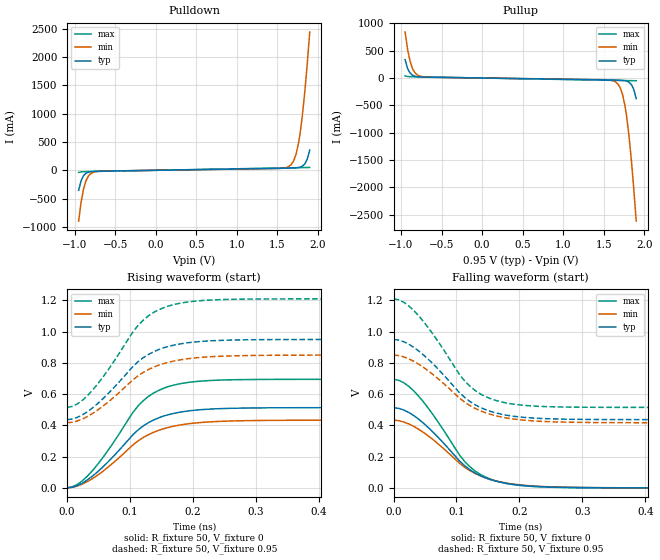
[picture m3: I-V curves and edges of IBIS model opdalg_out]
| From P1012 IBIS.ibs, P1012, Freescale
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[Model]   opdalg_out
Model_type Output
Polarity Non-Inverting
Vref=0.95
Vmeas=0.475
C_comp   1.78pF   1.67pF   1.83pF
[Model Spec]
[Temperature Range] 65   125   -40
[Voltage Range]   0.95   0.85   1.21
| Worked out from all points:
|   slope of the pulldown table from 0 to 0.142 V, typ, clamps not added: 42.5 ohm
|   slope of the pullup table from 0 to 0.142 V, typ, clamps not added: 42.5 ohm
|   falling waveform, R_fixture 50, V_fixture 0: 20-80 % time 78.1ps typ, 82.2ps min, 74.1ps max; typ from 0.513 V to 0 V
|   falling waveform, R_fixture 50, V_fixture 0.95: 20-80 % time 78ps typ, 82.1ps min, 74.3ps max; typ from 0.95 V to 0.437 V
|   rising waveform, R_fixture 50, V_fixture 0: 20-80 % time 78.1ps typ, 82.2ps min, 74.3ps max; typ from 0 V to 0.513 V
|   rising waveform, R_fixture 50, V_fixture 0.95: 20-80 % time 78ps typ, 82.1ps min, 74ps max; typ from 0.437 V to 0.95 V
[Pullup]
-950mV    335.5mA    840.5mA    37.93mA
-920mV    177.7mA    532.3mA    28.21mA
-860mV    51.79mA    177.5mA    23.38mA
-810mV    26.34mA    67.84mA    21.83mA
-750mV    18.74mA    27.23mA    20.2mA
1.5V      -34.85mA   -31.69mA   -39.96mA
1.67V     -39.12mA   -102mA     -44.33mA
1.73V     -42.93mA   -293.4mA   -45.87mA
1.78V     -54.65mA   -682.7mA   -47.14mA
1.81V     -74.38mA   -1.045A    -47.9mA
1.84V     -117.8mA   -1.498A    -48.66mA
1.9V      -376.2mA   -2.614A    -50.18mA
[Pulldown]
-950mV    -354.6mA   -896.5mA   -37.95mA
-920mV    -186.1mA   -566.4mA   -28.15mA
-890mV    -96.12mA   -333.7mA   -24.84mA
-860mV    -52.71mA   -186.8mA   -23.38mA
-810mV    -26.35mA   -70.07mA   -21.83mA
-750mV    -18.71mA   -27.42mA   -20.2mA
1.5V      34.85mA    31.71mA    39.96mA
1.67V     39.13mA    98.9mA     44.33mA
1.73V     42.97mA    278.3mA    45.87mA
1.78V     54.49mA    642mA      47.14mA
1.84V     114.6mA    1.403A     48.66mA
1.9V      357.1mA    2.444A     50.18mA
[Falling Waveform]
R_fixture=50
V_fixture=0
V_fixture_min=0
V_fixture_max=0
0s        513.2mV    433.2mV    694.8mV
16.16ps   498.8mV    421.9mV    673.2mV
40.4ps    438.2mV    373.9mV    584.6mV
64.65ps   349.3mV    302.7mV    457.6mV
105.1ps   171.7mV    157.1mV    209.5mV
121.2ps   116.4mV    110.3mV    136mV
145.5ps   65.13mV    64.62mV    70.63mV
177.8ps   29.74mV    31.96mV    29.22mV
299ps     1.573mV    2.097mV    1.027mV
800ps     68.85nV    52.65nV    14.41nV
[Falling Waveform]
R_fixture=50
V_fixture=0.95
V_fixture_min=0.85
V_fixture_max=1.21
0s        950mV      850mV      1.21V
16.16ps   935.7mV    838.9mV    1.188V
40.4ps    875mV      790.8mV    1.1V
64.65ps   786.2mV    719.3mV    972.7mV
105.1ps   608.5mV    574mV      724.8mV
121.2ps   553.3mV    527.2mV    651.5mV
145.5ps   502mV      481.9mV    585.7mV
169.7ps   473.1mV    454.9mV    551.7mV
266.7ps   440.2mV    421.3mV    517.7mV
800ps     436.8mV    416.8mV    515.2mV
[Rising Waveform]
R_fixture=50
V_fixture=0
V_fixture_min=0
V_fixture_max=0
0s        6.854nV    32.41nV    1.012nV
16.16ps   14.42mV    11.17mV    21.48mV
40.4ps    75.21mV    59.24mV    110.4mV
64.65ps   164mV      130.8mV    237.4mV
105.1ps   341.5mV    276mV      485mV
121.2ps   396.9mV    322.8mV    558.5mV
145.5ps   448.1mV    368.2mV    623.8mV
177.8ps   483.4mV    401.1mV    665.5mV
290.9ps   511.4mV    430.6mV    693.5mV
800ps     513.2mV    433.2mV    694.8mV
[Rising Waveform]
R_fixture=50
V_fixture=0.95
V_fixture_min=0.85
V_fixture_max=1.21
0s        436.8mV    416.8mV    515.2mV
16.16ps   451.4mV    428.1mV    537.1mV
40.4ps    511.7mV    476mV      625.1mV
64.65ps   600.6mV    547.4mV    752.2mV
105.1ps   778.4mV    692.9mV    1.001V
121.2ps   833.8mV    739.5mV    1.074V
145.5ps   885mV      785.4mV    1.14V
177.8ps   920.4mV    818.1mV    1.181V
299ps     948.4mV    847.9mV    1.209V
800ps     950mV      850mV      1.21V
[Ramp]
R_load=50
dV/dt_r   3.079E-1/7.813E-11   2.599E-1/8.180E-11   4.169E-1/7.410E-11
dV/dt_f   3.079E-1/7.805E-11   2.599E-1/8.185E-11   4.169E-1/7.410E-11
|[End   opdalg_out
